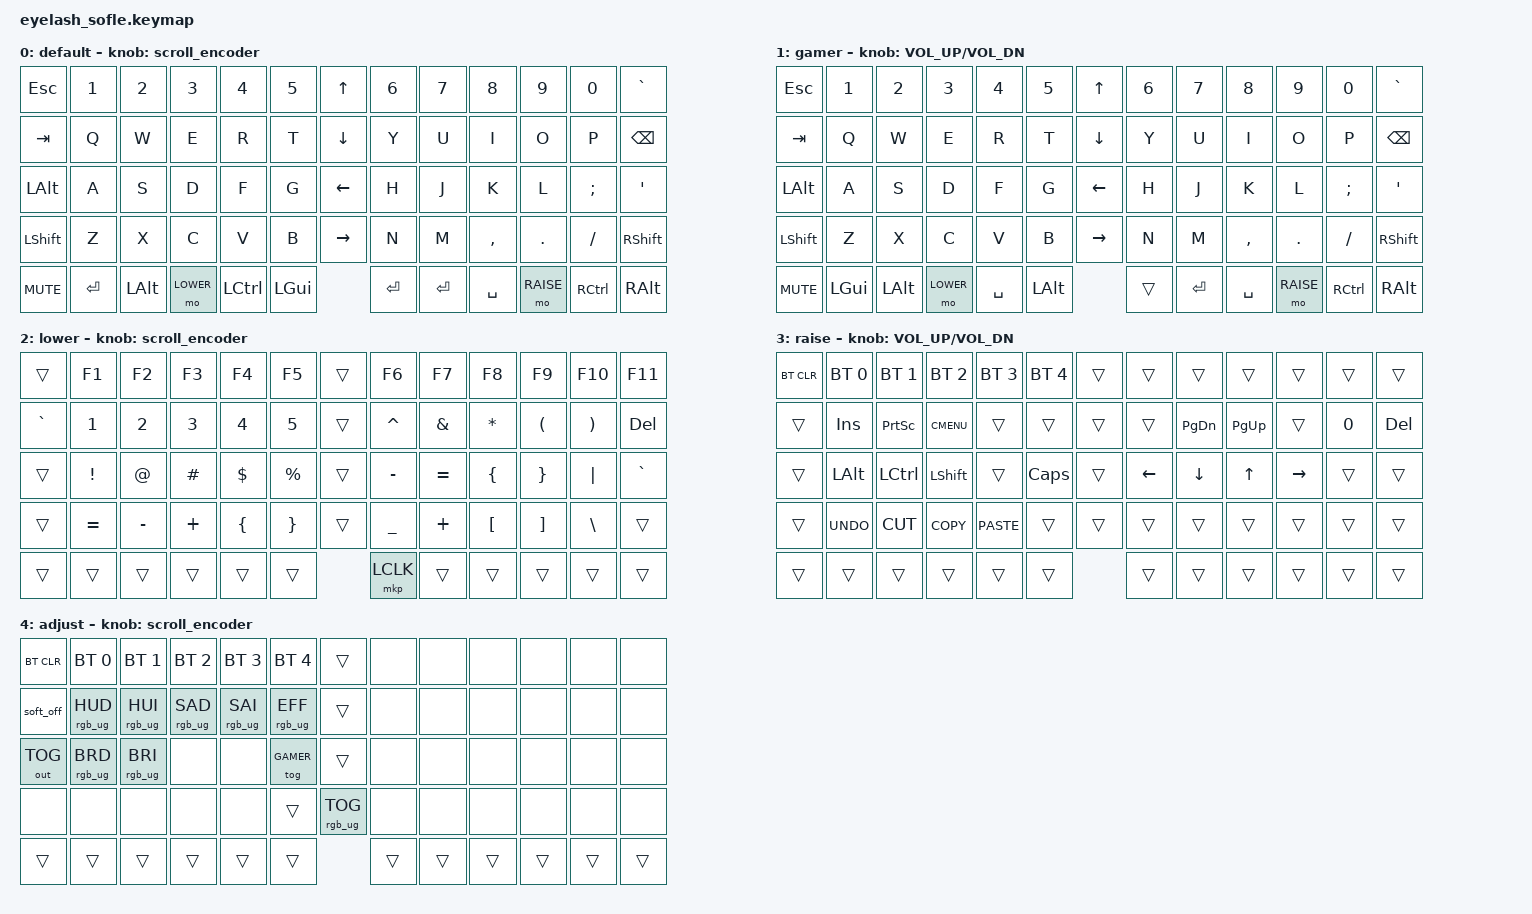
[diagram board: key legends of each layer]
#define ZMK_POINTING_DEFAULT_MOVE_VAL 1200  // 600
#define ZMK_POINTING_DEFAULT_SCRL_VAL 25   // 10

#include <input/processors.dtsi>
#include <zephyr/dt-bindings/input/input-event-codes.h>
#include <behaviors.dtsi>
#include <dt-bindings/zmk/bt.h>
#include <dt-bindings/zmk/keys.h>
#include <dt-bindings/zmk/outputs.h>
#include <dt-bindings/zmk/pointing.h>
#include <dt-bindings/zmk/rgb.h>

#define BASE 0
#define GAMER 1
#define LOWER 2
#define RAISE 3
#define ADJUST 4

&mmv_input_listener { input-processors = <&zip_xy_scaler 2 1>; };

&msc_input_listener { input-processors = <&zip_scroll_scaler 2 1>; };

&msc {
    acceleration-exponent = <1>;      // 0
    time-to-max-speed-ms = <100>;       // 300
    delay-ms = <0>;                   // 0
};

&mmv {
    time-to-max-speed-ms = <500>;
    acceleration-exponent = <1>;
    trigger-period-ms = <16>;
};

&soft_off { hold-time-ms = <2000>; };

/ {
    scroll_encoder: scroll_encoder {
        compatible = "zmk,behavior-sensor-rotate";
        #sensor-binding-cells = <0>;
        bindings = <&msc SCRL_DOWN>, <&msc SCRL_UP>;

        tap-ms = <100>;
    };

    behaviors {
    };

    combos {
        compatible = "zmk,combos";

        softoff {
            bindings = <&soft_off>;
            key-positions = <14 28 40>;
        };
    };

    macros {
        SHIFT_MCLK: SHIFT_MCLK {
            compatible = "zmk,behavior-macro";
            #binding-cells = <0>;
            bindings =
                <&macro_press>,
                <&kp LEFT_SHIFT>,
                <&macro_press>,
                <&mkp MB3>,
                <&macro_pause_for_release>,
                <&macro_release>,
                <&kp LEFT_SHIFT &mkp MB3>;

            label = "SHIFT_MCLK";
        };
    };

    keymap {
        compatible = "zmk,keymap";

        default_layer {
            display-name = "default";
// ------------------------------------------------------------------------------------------------------------
// |  ESC  |  1  |  2  |  3   |  4   |  5   |                   |  6   |  7    |  8    |  9   |   0   |   `   |
// |  TAB  |  Q  |  W  |  E   |  R   |  T   |                   |  Y   |  U    |  I    |  O   |   P   | BKSPC |
// |  ALT |  A  |  S  |  D   |  F   |  G   |                   |  H   |  J    |  K    |  L   |   ;   |   '   |
// | SHIFT |  Z  |  X  |  C   |  V   |  B   |        |  |       |  N   |  M    |  ,    |  .   |   /   | SHIFT |
//               | Enter | ALT  | LOWER | CTRL|  GUI |  | ENTER | SPACE| RAISE  | CTRL   | ALT  |
            bindings = <
&kp ESC  &kp N1 &kp N2   &kp N3   &kp N4    &kp N5              &kp UP_ARROW                   &kp N6     &kp N7    &kp N8    &kp N9   &kp N0   &kp GRAVE
&kp TAB   &kp Q  &kp W    &kp E    &kp R     &kp T              &kp DOWN_ARROW                 &kp Y      &kp U     &kp I     &kp O    &kp P    &kp BSPC
&kp LALT  &kp A  &kp S    &kp D    &kp F     &kp G              &kp LEFT_ARROW                 &kp H      &kp J     &kp K     &kp L    &kp SEMI &kp SQT
&kp LSHFT &kp Z  &kp X    &kp C    &kp V     &kp B              &kp RIGHT_ARROW                &kp N      &kp M     &kp COMMA &kp DOT  &kp FSLH &kp RSHFT
&kp C_MUTE       &kp RET &kp LALT &mo LOWER &kp LCTRL  &kp LGUI &kp RET               &kp RET  &kp SPACE  &mo RAISE &kp RCTRL &kp RALT
            >;

            sensor-bindings = <&scroll_encoder>;
        };

                gamer_layer {
            display-name = "gamer";
// ------------------------------------------------------------------------------------------------------------
// |  ESC  |  1  |  2  |  3   |  4   |  5   |                   |  6   |  7    |  8    |  9   |   0   |   `   |
// |  TAB  |  Q  |  W  |  E   |  R   |  T   |                   |  Y   |  U    |  I    |  O   |   P   | BKSPC |
// |  CTRL |  A  |  S  |  D   |  F   |  G   |                   |  H   |  J    |  K    |  L   |   ;   |   '   |
// | SHIFT |  Z  |  X  |  C   |  V   |  B   |        |  |       |  N   |  M    |  ,    |  .   |   /   | SHIFT |
//               | GUI | ALT  |LOWER |SPACE |    ALT |  | ENTER | SPACE| RAISE | CTRL  | ALT  |
            bindings = <
&kp ESC  &kp N1 &kp N2   &kp N3   &kp N4    &kp N5               &kp UP_ARROW                   &kp N6     &kp N7    &kp N8    &kp N9   &kp N0   &kp GRAVE
&kp TAB   &kp Q  &kp W    &kp E    &kp R     &kp T               &kp DOWN_ARROW                 &kp Y      &kp U     &kp I     &kp O    &kp P    &kp BSPC
&kp LALT  &kp A  &kp S    &kp D    &kp F     &kp G               &kp LEFT_ARROW                 &kp H      &kp J     &kp K     &kp L    &kp SEMI &kp SQT
&kp LSHFT &kp Z  &kp X    &kp C    &kp V     &kp B               &kp RIGHT_ARROW                &kp N      &kp M     &kp COMMA &kp DOT  &kp FSLH &kp RSHFT
&kp C_MUTE       &kp LGUI &kp LALT &mo LOWER &kp SPACE  &kp LALT &trans             &kp RET  &kp SPACE  &mo RAISE &kp RCTRL &kp RALT
            >;
	    
	    sensor-bindings = <&inc_dec_kp C_VOLUME_UP C_VOL_DN>;
        };

        lower_layer {
            display-name = "lower";
// ------------------------------------------------------------------------------------------------------------
// |       |  F1 |  F2 |  F3  |  F4  |  F5  |                   |  F6  |  F7   |  F8   |  F9  |  F10  |  F11  |
// |   `   |  1  |  2  |  3   |  4   |  5   |                   |  ^   |  &    |  *    |  (   |   )   |  DEL  |
// |       |  !  |  @  |  #   |  $   |  %   |                   |  -   |  =    |  {    |  }   |   |   |   `   |
// |       |  =  |  -  |  +   |  {   |  }   |        |  |       |  _   |  +    |  [    |  ]   |   \   |       |
//               |     |      |      |      |        |  |       |      |       |       |      |
            bindings = <
&trans    &kp F1    &kp F2    &kp F3      &kp F4    &kp F5     &trans               &kp F6    &kp F7    &kp F8    &kp F9    &kp F10   &kp F11
&kp GRAVE &kp N1    &kp N2    &kp N3      &kp N4    &kp N5     &trans               &kp CARET &kp AMPS  &kp ASTRK &kp LPAR  &kp RPAR  &kp DEL
&trans    &kp EXCL  &kp AT    &kp HASH    &kp DLLR  &kp PRCNT  &trans               &kp MINUS &kp EQUAL &kp LBRC  &kp RBRC  &kp PIPE  &kp GRAVE
&trans    &kp EQUAL &kp MINUS &kp PLUS    &kp LBRC  &kp RBRC   &trans               &kp UNDER &kp PLUS  &kp LBKT  &kp RBKT  &kp BSLH  &trans
&trans              &trans    &trans      &trans    &trans     &trans &mkp LCLK     &trans    &trans    &trans    &trans    &trans
            >;

            sensor-bindings = <&scroll_encoder>;
        };

        raise_layer {
            display-name = "raise";
// ------------------------------------------------------------------------------------------------------------
// | BTCLR | BT1  | BT2  |  BT3  |  BT4  |  BT5 |                |      |      |       |      |       |       |
// |       | INS  | PSCR | GUI   |       |      |                |      | PGDN | PGUP  |      |       |  DEL  |
// |       | ALT  | CTRL | SHIFT |       | CAPS |                |  <-  |   v  |   ^   |  ->  |       |       |
// |       | UNDO | CUT  | COPY  | PASTE |      |      |  |      |      |      |       |      |       |       |
//                |      |       |       |      |      |  |      |      |      |       |      |
            bindings = <
&bt BT_CLR &bt BT_SEL 0 &bt BT_SEL 1 &bt BT_SEL 2 &bt BT_SEL 3 &bt BT_SEL 4  &trans                &trans    &trans    &trans    &trans    &trans  &trans
&trans     &kp INS      &kp PSCRN    &kp K_CMENU  &trans       &trans        &trans                &trans    &kp PG_DN &kp PG_UP &trans    &kp N0  &kp DEL
&trans     &kp LALT     &kp LCTRL    &kp LSHFT    &trans       &kp CLCK      &trans                &kp LEFT  &kp DOWN  &kp UP    &kp RIGHT &trans  &trans
&trans     &kp K_UNDO   &kp K_CUT    &kp K_COPY   &kp K_PASTE  &trans        &trans                &trans    &trans    &trans    &trans    &trans  &trans
&trans     &trans       &trans       &trans       &trans       &trans        &trans                &trans    &trans    &trans    &trans    &trans
            >;

            sensor-bindings = <&inc_dec_kp C_VOLUME_UP C_VOL_DN>;
        };

        adjust_layer {
// ----------------------------------------------------------------------------------------------------------------------------
// | BTCLR  |  BT1    |  BT2    |   BT3   |   BT4   |   BT5   |                  |      |      |       |      |       |       |
// | EXTPWR | RGB_HUD | RGB_HUI | RGB_SAD | RGB_SAI | RGB_EFF |                  |      |      |       |      |       |       |
// |        | RGB_BRD | RGB_BRI |         |         |  GAMER  |                  |      |      |       |      |       |       |
// |        |         |         |         |         | DEFAULT | RGB_TOG | |      |      |      |       |      |       |       |
//                    |         |         |         |         |         | |      |      |      |       |      |
            display-name = "adjust";
            bindings = <
&bt BT_CLR        &bt BT_SEL 0    &bt BT_SEL 1    &bt BT_SEL 2    &bt BT_SEL 3    &bt BT_SEL 4       &trans                     &none &none &none &none &none &none
&soft_off &rgb_ug RGB_HUD &rgb_ug RGB_HUI &rgb_ug RGB_SAD &rgb_ug RGB_SAI &rgb_ug RGB_EFF    &trans                     &none &none &none &none &none &none
&out OUT_TOG      &rgb_ug RGB_BRD &rgb_ug RGB_BRI &none           &none           &tog GAMER         &trans                     &none &none &none &none &none &none
&none             &none           &none           &none           &none           &trans  &rgb_ug RGB_TOG            &none &none &none &none &none &none
&trans  &trans  &trans  &trans  &trans  &trans    &trans  &trans  &trans  &trans  &trans  &trans
            >;

            sensor-bindings = <&scroll_encoder>;
        };
    };
};
